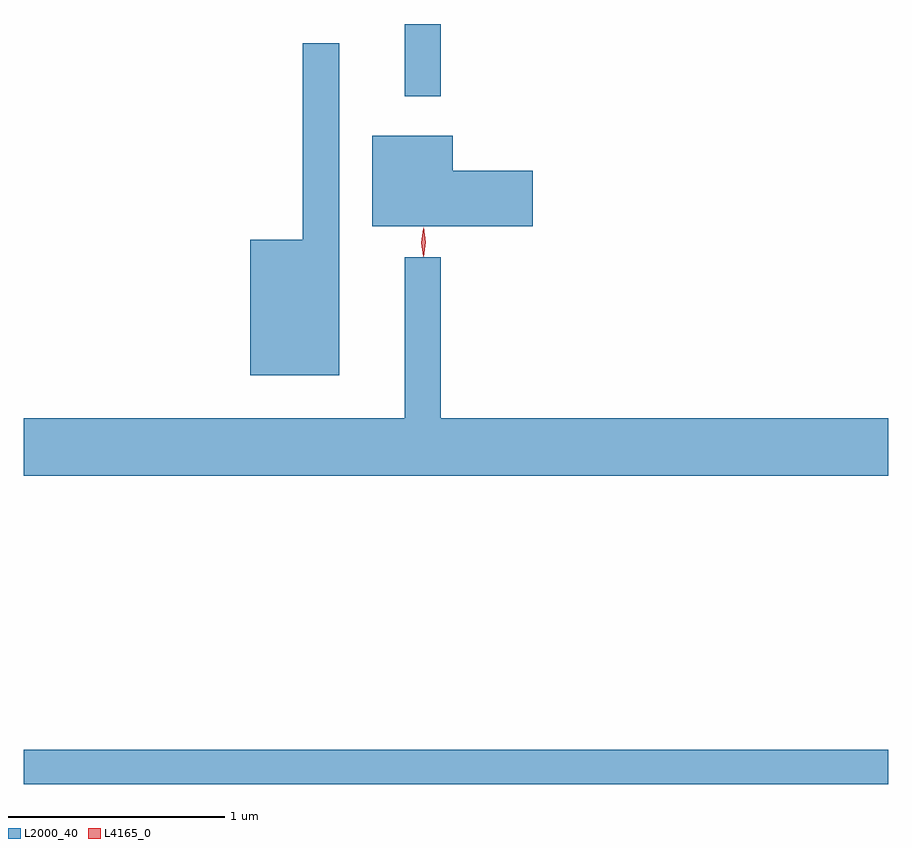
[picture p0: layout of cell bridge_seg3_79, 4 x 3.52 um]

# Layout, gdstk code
import gdstk
lib = gdstk.Library(unit=1e-6, precision=1e-09)
def R(c, l, rs):  # rectangles x0, y0, x1, y1
    for r in rs: c.add(gdstk.rectangle(r[:2], r[2:], *l))
def P(c, l, *ps):  # polygons
    for p in ps: c.add(gdstk.Polygon(p, *l))
L2000_40 = (2000, 40)
L4165_0 = (4165, 0)

bridge_seg3_79 = lib.new_cell('bridge_seg3_79')
R(bridge_seg3_79, L2000_40, [(1144.059,1215.611,1148.059,1215.769), (1145.821,1218.793,1145.989,1219.127)])
P(bridge_seg3_79, L2000_40, [(1145.519,1219.038),(1145.351,1219.038),(1145.351,1218.129),(1145.106,1218.129),(1145.106,1217.501),(1145.519,1217.501)],
  [(1146.414,1218.449),(1146.044,1218.449),(1146.044,1218.609),(1145.671,1218.609),(1145.671,1218.191),(1146.414,1218.191)],
  [(1148.059,1217.304),(1145.989,1217.304),(1145.989,1218.048),(1145.821,1218.048),(1145.821,1217.304),(1144.059,1217.304),(1144.059,1217.036),(1148.059,1217.036)])
P(bridge_seg3_79, L4165_0, [(1145.907,1218.053),(1145.898,1218.116),(1145.907,1218.179),(1145.908,1218.18),(1145.908,1218.179),(1145.918,1218.116),(1145.908,1218.053),(1145.908,1218.053)],
  [(1145.909,1218.05),(1145.9,1218.118),(1145.909,1218.186),(1145.91,1218.186),(1145.91,1218.186),(1145.92,1218.118),(1145.91,1218.05),(1145.91,1218.05)])

lib.write_gds('bridge_seg3_79.gds')
